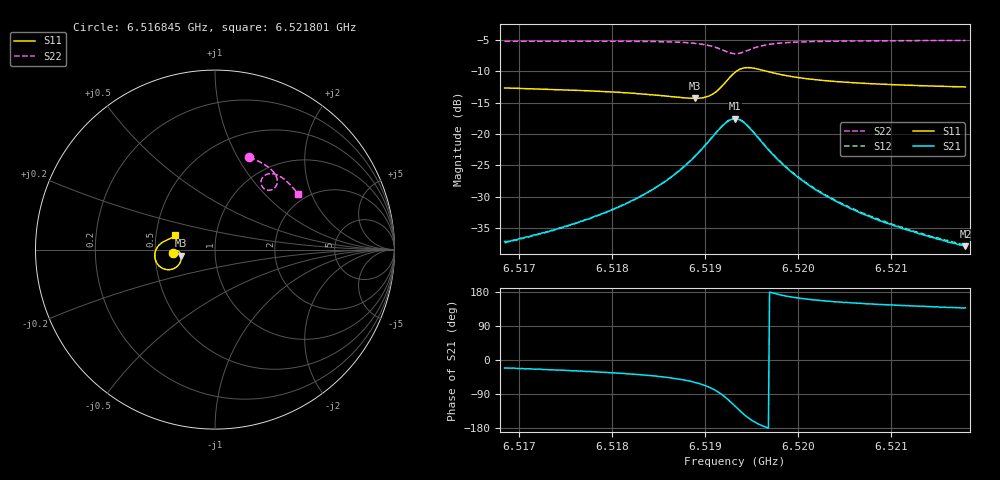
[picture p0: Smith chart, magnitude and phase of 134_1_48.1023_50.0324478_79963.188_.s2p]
#  HZ  S  RI  R  50.00
! Rohde & Schwarz Vector Network Analyzer
! Rohde-Schwarz,ZNB20-2Port,1311601062101988,3.16
! Created: UTC 12/23/2023, 3:48:05 AM
! freq[Hz]  re:S11  im:S11  re:S21  im:S21  re:S12  im:S12  re:S22  im:S22
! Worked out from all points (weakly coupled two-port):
!   401 points, 6.516845 GHz to 6.521801 GHz, reference 50 ohm
!   highest |S21| = -17.59 dB at 6.519323 GHz (marker M1); lowest = -37.9 dB at 6.521801 GHz (marker M2)
!   lowest |S11| = -14.3 dB at 6.518889 GHz (marker M3), VSWR 1.48, Z = 34 - j2.44 ohm
!   |S11| at or under -10 dB: start of sweep to 6.519339 GHz; 6.519661 GHz to end of sweep
!   |S22| runs from -7.2 to -5.1 dB; largest |S21 - S12| = 0.004
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6.5168448e9  -0.2315 -0.02  0.0129 -0.00498  0.0128 -0.00445  0.1921 0.5132
6.5173032e9  -0.2267 -0.0132  0.015 -0.00709  0.0151 -0.00654  0.2261 0.4998
6.5176749e9  -0.2217 -0.00854  0.0175 -0.00982  0.0179 -0.00934  0.2536 0.4861
6.5181209e9  -0.2134 -0.00575  0.0222 -0.0157  0.0226 -0.0151  0.287 0.4663
6.518505e9  -0.2027 -0.00969  0.0281 -0.0266  0.0292 -0.0258  0.3167 0.4424
6.5187033e9  -0.1953 -0.0177  0.032 -0.0377  0.0333 -0.0369  0.3318 0.4246
6.5188891e9  -0.189 -0.0345  0.0341 -0.0564  0.036 -0.0556  0.3443 0.4004
6.5190006e9  -0.1888 -0.053  0.0311 -0.0744  0.0336 -0.0741  0.347 0.3796
6.5190873e9  -0.1953 -0.0735  0.0217 -0.0934  0.0249 -0.0933  0.343 0.3598
6.5192236e9  -0.2359 -0.1083  -0.0197 -0.1208  -0.0164 -0.1223  0.312 0.3321
6.5193228e9  -0.2915 -0.1047  -0.0693 -0.1123  -0.0665 -0.1151  0.2743 0.3385
6.5193723e9  -0.3153 -0.087  -0.0888 -0.0941  -0.0867 -0.0974  0.2611 0.3538
6.5194343e9  -0.3324 -0.0569  -0.1006 -0.0662  -0.0995 -0.0695  0.2562 0.3767
6.5195458e9  -0.3317 -0.00844  -0.0948 -0.0251  -0.0948 -0.0279  0.2705 0.4079
6.5196573e9  -0.3161 0.02  -0.0785 -0.00337  -0.0789 -0.00561  0.2928 0.4209
6.5198803e9  -0.2877 0.0435  -0.0522 0.0109  -0.053 0.00929  0.3295 0.4213
6.5201529e9  -0.2669 0.0538  -0.0349 0.0134  -0.0358 0.0124  0.36 0.4088
6.5203263e9  -0.2582 0.0575  -0.0284 0.013  -0.0292 0.0125  0.3751 0.3994
6.5205741e9  -0.249 0.0616  -0.022 0.0122  -0.0228 0.012  0.3935 0.3853
6.520983e9  -0.2383 0.0677  -0.0158 0.0109  -0.0163 0.0106  0.419 0.3612
6.521429e9  -0.2294 0.074  -0.0116 0.00944  -0.0121 0.00926  0.4431 0.3344
6.5218007e9  -0.2233 0.079  -0.00942 0.00855  -0.00972 0.00851  0.461 0.3111
